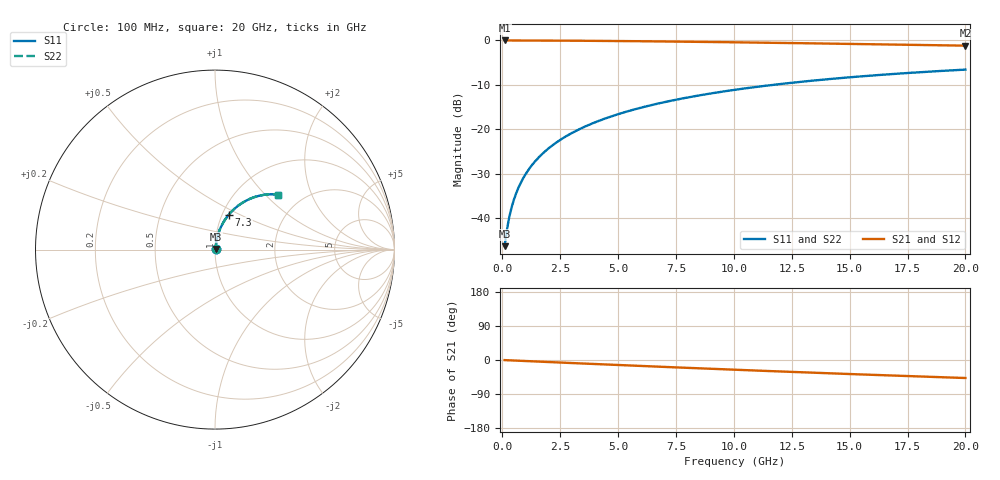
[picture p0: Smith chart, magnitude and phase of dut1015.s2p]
! Touchstone file exported from HFSS 2026.1.0
!  File:  C:/ffzhzh/LocalFiles/Ansys_Project_Files/temp_train_BSMRDL_1015_1783173344_55132.aedt
!  Generated:  09:57:04 PM Jul  4, 2026
!  Design:  BSMRDL
!  Project:  temp_train_BSMRDL_1015_1783173344_55132
! Variables:
!  h_bsmrdl = 4.57um
!  h_ox = 20um
!  h_rdl = 5um
!  h_sub = 80um
!  h_tmrdl = 5um
!  h_tsv = 80um
!  h_via = 3um
!  l_bsmrdl = 689.01um
!  l_sub = 1089.01um
!  l_tmrdl = 200um
!  m_sub = 200um
!  pitch = 45.5um
!  r_tsv = 6um
!  s_tmrdl = 10um
!  w_bsmrdl = 15.28um
!  w_sub = 500um
!  w_tmrdl = 12um
!  x_tsv_center1 = 206um
!  x_tsv_center2 = 910.29um
!  x_tsv_center3 = 1122.29um
!  x_tsv_center4 = 1826.58um
!  x_tsv_center5 = 2038.58um
!  x_tsv_center6 = 2742.87um
# GHz S MA R 50.000000
! Terminal data exported
! Port[1] = BSM_RDL1_1_T1
! Port[2] = BSM_RDL1_1_T2
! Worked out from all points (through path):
!   200 points, 100 MHz to 20 GHz, reference 50 ohm
!   highest |S21| = -0.03 dB at 100 MHz (marker M1); lowest = -1.2 dB at 20 GHz (marker M2)
!   group delay of S21, straight-line fit = 6.6 ps
!   lowest |S11| = -46.4 dB at 100 MHz (marker M3), VSWR 1.01, Z = 50.4 + j0.322 ohm
!   |S11| at or under -10 dB: start of sweep to 11.75 GHz
!   |S22| runs from -46.4 to -6.6 dB; largest |S21 - S12| = 2.6e-15
!   S11 on the Smith chart (normalised r, x): 100 MHz: 1.01, +0.01; 7.3 GHz: 1.07, +0.44; 20 GHz: 1.53, +1.20
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0.1  0.004808 41.6  0.9964 -0.3  0.9964 -0.3  0.004808 41.6
! Gamma 0 0 0 0
! Port Impedance 50 0 50 0
0.2  0.007356 59.3  0.9963 -0.6  0.9963 -0.6  0.007356 59.3
0.3  0.01019 67.2  0.9961 -0.8  0.9961 -0.8  0.01019 67.2
0.4  0.01309 71.5  0.996 -1.1  0.996 -1.1  0.01309 71.5
0.5  0.01602 74.2  0.9959 -1.4  0.9959 -1.4  0.01602 74.2
0.6  0.01898 76.0  0.9958 -1.6  0.9958 -1.6  0.01898 76.0
0.8  0.02492 78.2  0.9955 -2.2  0.9955 -2.2  0.02492 78.2
1.1  0.03388 79.7  0.9951 -3.0  0.9951 -3.0  0.03388 79.7
1.5  0.04585 80.3  0.9944 -4.0  0.9944 -4.0  0.04585 80.3
1.8  0.05481 80.2  0.9938 -4.8  0.9938 -4.8  0.05481 80.2
2.1  0.06374 79.9  0.993 -5.6  0.993 -5.6  0.06374 79.9
2.7  0.08147 79.0  0.9913 -7.2  0.9913 -7.2  0.08147 79.0
3.5  0.1048 77.4  0.9885 -9.3  0.9885 -9.3  0.1048 77.4
4.2  0.1248 75.8  0.9855 -11.1  0.9855 -11.1  0.1248 75.8
5  0.1473 73.9  0.9818 -13.2  0.9818 -13.2  0.1473 73.9
6.8  0.196 69.7  0.9718 -17.8  0.9718 -17.8  0.196 69.7
7.3  0.2091 68.5  0.9688 -19.0  0.9688 -19.0  0.2091 68.5
8.6  0.2421 65.4  0.9603 -22.2  0.9603 -22.2  0.2421 65.4
10.1  0.2785 62.0  0.9497 -25.8  0.9497 -25.8  0.2785 62.0
13.4  0.3515 54.6  0.9243 -33.5  0.9243 -33.5  0.3515 54.6
16.7  0.4146 47.6  0.8974 -40.7  0.8974 -40.7  0.4146 47.6
20  0.4679 40.9  0.8709 -47.5  0.8709 -47.5  0.4678 40.9
